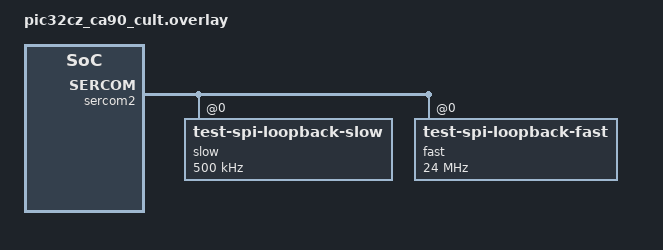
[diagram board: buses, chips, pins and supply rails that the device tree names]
/*
 * SPDX-FileCopyrightText: Copyright The Zephyr Project Contributors
 * SPDX-License-Identifier: Apache-2.0
 */

/* Needs a jumper from EXT1 pin 16 (MOSI) to EXT1 pin 17 (MISO) */
&sercom2 {
	slow@0 {
		compatible = "test-spi-loopback-slow";
		reg = <0>;
		spi-max-frequency = <500000>;
	};

	fast@0 {
		compatible = "test-spi-loopback-fast";
		reg = <0>;
		spi-max-frequency = <24000000>;
	};
};
